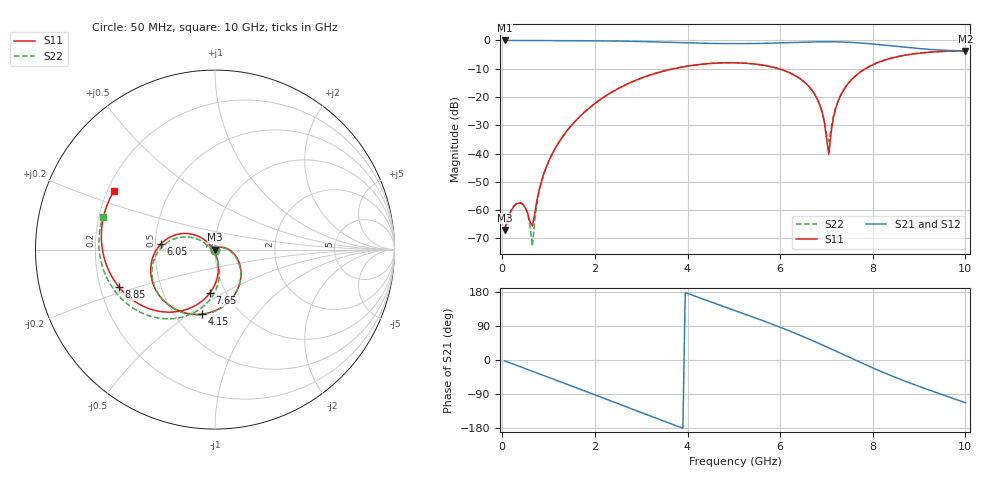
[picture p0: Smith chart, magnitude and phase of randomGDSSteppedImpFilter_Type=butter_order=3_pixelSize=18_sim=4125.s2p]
! freq	dB(S11)	phase(S11)	dB(S12)	phase(S12)
!  dB(S21)	phase(S21)	dB(S22)	phase(S22)
!S-par simulation data
#  GHz  S  DB  R 50
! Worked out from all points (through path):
!   200 points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, 50 MHz to 10 GHz, reference 50 ohm
!   highest |S21| = 0.00 dB at 50 MHz (marker M1); lowest = -3.7 dB at 10 GHz (marker M2)
!   group delay of S21, straight-line fit = 132 ps
!   lowest |S11| = -67.0 dB at 50 MHz (marker M3), VSWR 1.00, Z = 50 - j0.0271 ohm
!   |S11| at or under -10 dB: start of sweep to 3.697 GHz; 5.968 GHz to 7.84 GHz (1.872 GHz wide, 27.1 % of centre)
!   |S22| runs from -72.7 to -3.7 dB; largest |S21 - S12| = 0
!   S11 on the Smith chart (normalised r, x): 50 MHz: 1.00, -0.00; 4.15 GHz: 0.68, -0.56; 6.05 GHz: 0.54, +0.04; 7.65 GHz: 0.84, -0.43; 8.85 GHz: 0.28, -0.17; 10 GHz: 0.23, +0.26
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0.05  -66.97 -37.1  -0.00 -2.3  -0.00 -2.3  -66.95 -36.5
0.2  -59.93 -83.0  -0.02 -9.2  -0.02 -9.2  -59.73 -79.5
0.4  -57.56 -107.8  -0.03 -18.3  -0.03 -18.3  -57.36 -96.6
0.55  -61.21 -133.9  -0.03 -25.2  -0.03 -25.2  -61.43 -100.8
0.65  -65.59 149.5  -0.04 -29.7  -0.04 -29.7  -72.74 -18.9
0.75  -56.35 85.3  -0.04 -34.3  -0.04 -34.3  -57.42 49.6
0.95  -44.77 58.9  -0.05 -43.5  -0.05 -43.5  -44.94 45.4
1.75  -25.69 12.8  -0.10 -80.3  -0.10 -80.3  -25.70 9.1
2.5  -17.04 -24.1  -0.22 -115.2  -0.22 -115.2  -17.04 -25.6
3.4  -11.20 -67.1  -0.55 -157.2  -0.55 -157.2  -11.19 -67.0
4.15  -8.72 -101.4  -0.91 168.9  -0.91 168.9  -8.71 -100.2
5.05  -7.91 -141.1  -1.14 129.4  -1.14 129.4  -7.90 -138.4
6.05  -10.43 173.6  -0.84 84.1  -0.84 84.1  -10.41 178.4
6.7  -17.93 142.4  -0.52 51.1  -0.52 51.1  -17.90 150.4
6.9  -25.05 136.1  -0.47 40.3  -0.47 40.3  -24.89 148.5
7.05  -40.30 -135.7  -0.47 32.0  -0.47 32.0  -35.79 -134.4
7.15  -27.30 -77.4  -0.48 26.4  -0.48 26.4  -26.80 -80.3
7.25  -21.58 -77.7  -0.51 20.8  -0.51 20.8  -21.39 -76.4
7.65  -12.22 -96.9  -0.81 -1.7  -0.81 -1.7  -12.16 -91.5
8.35  -6.49 -134.1  -1.82 -39.0  -1.82 -39.0  -6.45 -125.9
8.85  -4.82 -158.6  -2.65 -62.9  -2.65 -62.9  -4.79 -148.6
10  -3.73 149.8  -3.69 -112.8  -3.69 -112.8  -3.73 163.7
